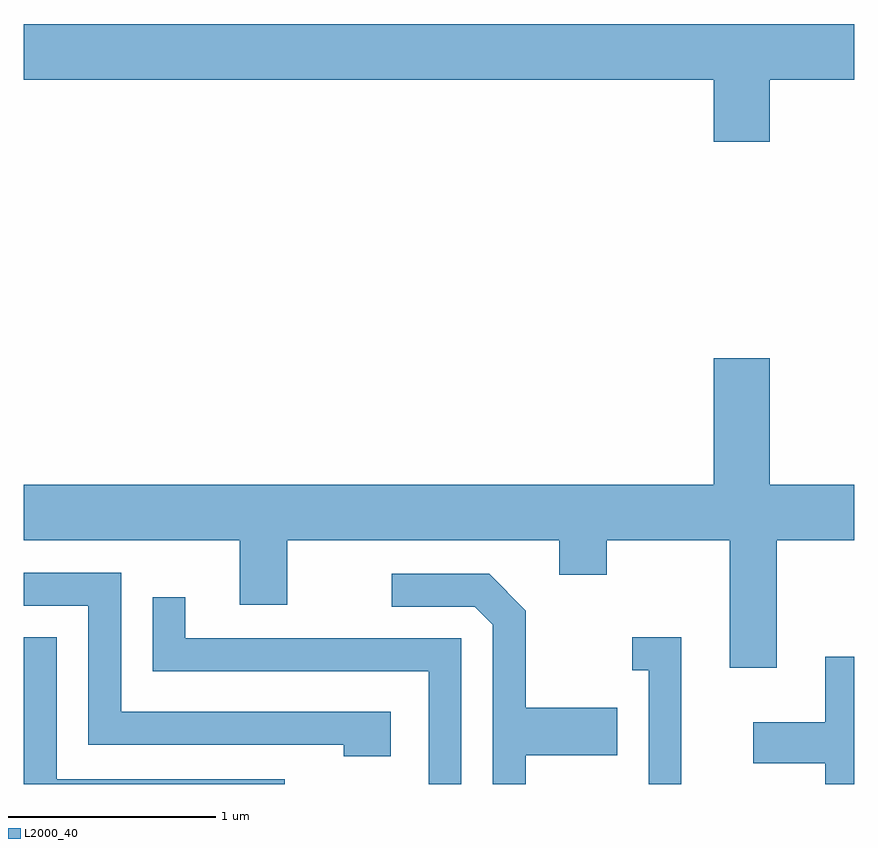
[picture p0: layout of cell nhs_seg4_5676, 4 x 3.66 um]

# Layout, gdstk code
import gdstk
lib = gdstk.Library(unit=1e-6, precision=1e-09)
def P(c, l, *ps):  # polygons
    for p in ps: c.add(gdstk.Polygon(p, *l))
L2000_40 = (2000, 40)

nhs_seg4_5676 = lib.new_cell('nhs_seg4_5676')
P(nhs_seg4_5676, L2000_40, [(355.204,1321.376),(355.611,1321.376),(355.611,1321.644),(351.611,1321.644),(351.611,1321.376),(354.936,1321.376),(354.936,1321.076),(355.204,1321.076)],
  [(355.239,1319.156),(355.611,1319.156),(355.611,1319.424),(355.204,1319.424),(355.204,1320.034),(354.936,1320.034),(354.936,1319.424),(351.611,1319.424),(351.611,1319.156),(352.651,1319.156),(352.651,1318.846),(352.879,1318.846),(352.879,1319.156),(354.191,1319.156),(354.191,1318.991),(354.419,1318.991),(354.419,1319.156),(355.011,1319.156),(355.011,1318.541),(355.239,1318.541)],
  [(353.379,1318.329),(352.079,1318.329),(352.079,1318.999),(351.611,1318.999),(351.611,1318.841),(351.921,1318.841),(351.921,1318.171),(353.151,1318.171),(353.151,1318.116),(353.379,1318.116)],
  [(354.029,1318.121),(354.469,1318.121),(354.469,1318.349),(354.029,1318.349),(354.029,1318.817),(353.852,1318.994),(353.383,1318.994),(353.383,1318.836),(353.784,1318.836),(353.871,1318.749),(353.871,1317.982),(354.029,1317.982)],
  [(353.719,1318.684),(352.389,1318.684),(352.389,1318.883),(352.231,1318.883),(352.231,1318.526),(353.561,1318.526),(353.561,1317.982),(353.719,1317.982)],
  [(352.868,1318.004),(351.769,1318.004),(351.769,1318.689),(351.611,1318.689),(351.611,1317.982),(352.868,1317.982)],
  [(354.779,1318.689),(354.543,1318.689),(354.543,1318.531),(354.621,1318.531),(354.621,1317.982),(354.779,1317.982)],
  [(355.611,1318.594),(355.471,1318.594),(355.471,1318.279),(355.126,1318.279),(355.126,1318.081),(355.471,1318.081),(355.471,1317.982),(355.611,1317.982)])

lib.write_gds('nhs_seg4_5676.gds')
